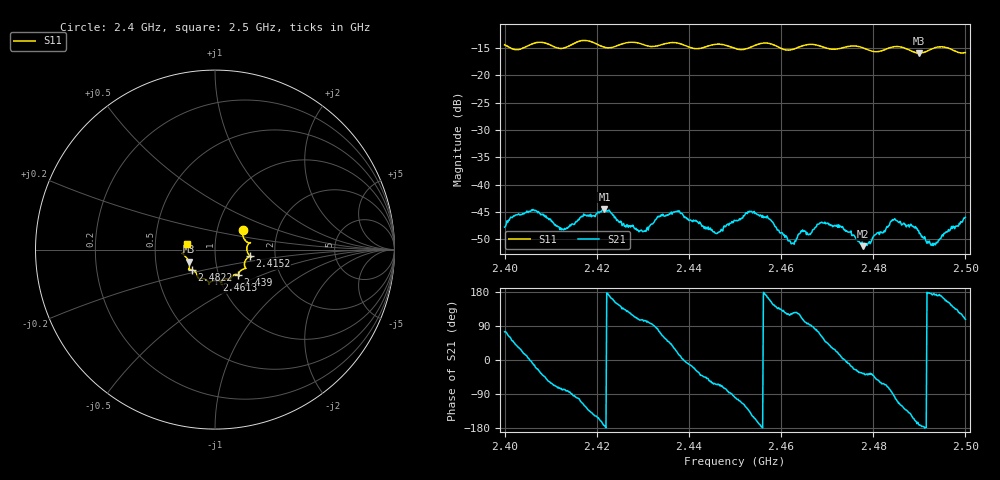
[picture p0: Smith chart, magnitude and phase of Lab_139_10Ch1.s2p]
# Hz S RI R 50
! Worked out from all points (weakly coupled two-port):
!   601 points, 2.4 GHz to 2.5 GHz, reference 50 ohm
!   highest |S21| = -44.49 dB at 2.4217 GHz (marker M1); lowest = -51.3 dB at 2.4778 GHz (marker M2)
!   lowest |S11| = -15.9 dB at 2.4898 GHz (marker M3), VSWR 1.38, Z = 37 - j5.04 ohm
!   |S11| at or under -10 dB: start of sweep to end of sweep
!   S12 and S22 are empty: the file has one direction only
!   S11 on the Smith chart (normalised r, x): 2.4 GHz: 1.33, +0.31; 2.4152 GHz: 1.48, -0.11; 2.439 GHz: 1.24, -0.36; 2.4613 GHz: 0.96, -0.34; 2.4822 GHz: 0.76, -0.17; 2.5 GHz: 0.72, +0.05
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2.4e9  0.1557 0.111  0.00109 0.00392  0 0  0 0
2.406333e9  0.1938 0.0371  0.00568 -0.00137  0 0  0 0
2.412333e9  0.1769 0.00125  0.000987 -0.00372  0 0  0 0
2.415167e9  0.1947 -0.0354  -0.00032 -0.0043  0 0  0 0
2.416667e9  0.2044 -0.0414  -0.00187 -0.00476  0 0  0 0
2.421667e9  0.1729 -0.0548  -0.00592 -0.000738  0 0  0 0
2.429667e9  0.1628 -0.1071  -0.00107 0.00367  0 0  0 0
2.433333e9  0.1331 -0.1327  0.000983 0.00502  0 0  0 0
2.439e9  0.1284 -0.1394  0.00497 -0.000192  0 0  0 0
2.445833e9  0.0848 -0.1737  0.00156 -0.0032  0 0  0 0
2.45e9  0.0683 -0.1637  -0.000771 -0.00461  0 0  0 0
2.453667e9  0.0358 -0.1803  -0.0047 -0.00312  0 0  0 0
2.461333e9  0.0078 -0.1707  -0.00165 0.00278  0 0  0 0
2.466667e9  -0.0331 -0.19  9.42e-05 0.00364  0 0  0 0
2.469667e9  -0.04 -0.175  0.00296 0.00321  0 0  0 0
2.477833e9  -0.0966 -0.1507  0.0022 -0.0016  0 0  0 0
2.482167e9  -0.1281 -0.1121  0.00169 -0.0032  0 0  0 0
2.483333e9  -0.1394 -0.1105  0.00122 -0.00401  0 0  0 0
2.484667e9  -0.1467 -0.1109  -0.00061 -0.00482  0 0  0 0
2.489833e9  -0.1457 -0.0664  -0.00372 -0.000675  0 0  0 0
2.493e9  -0.175 -0.0281  -0.00274 0.000309  0 0  0 0
2.5e9  -0.1587 0.0333  -0.00147 0.00479  0 0  0 0
